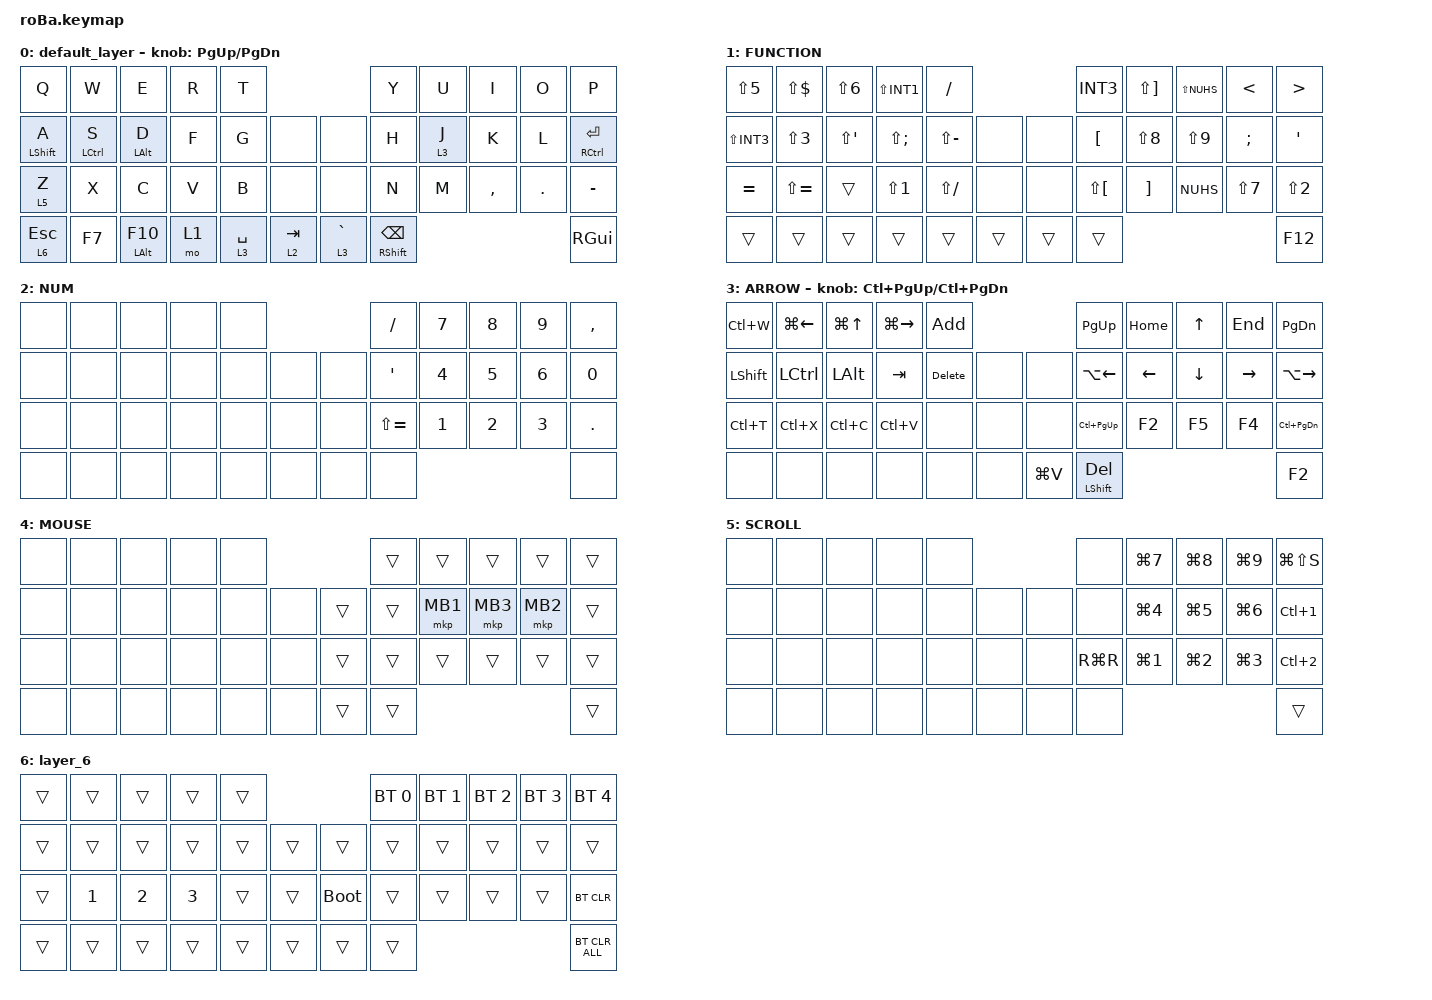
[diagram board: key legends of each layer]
#include <behaviors.dtsi>
#include <dt-bindings/zmk/bt.h>
#include <dt-bindings/zmk/keys.h>
#include <dt-bindings/zmk/pointing.h>

&mt {
    flavor = "tap-preferred";
    quick-tap-ms = <125>;
    tapping-term-ms = <175>;
};

&lt {
    tapping-term-ms = <175>;
    quick-tap-ms = <125>;
    flavor = "tap-preferred";
};

&trackball {
    //automouse-layer = <4>;

    scroll-layers = <3>;

    // arrows {
    //     layers = <3>;
    //     bindings =
    //         <&kp RIGHT_ARROW>,
    //         <&kp LEFT_ARROW>,
    //         <&kp UP_ARROW>,
    //         <&kp DOWN_ARROW>;
    //     tick = <10>;
    //     wait-ms = <5>;
    //     tap-ms = <5>;
    // };
};

/ {
    combos {
        compatible = "zmk,combos";

        RightClick {
            bindings = <&mkp MB2>;
            key-positions = <7 8>;
        };

        LeftClick {
            bindings = <&mkp MB1>;
            key-positions = <19 20>;
        };
    };

    macros {
        Add: to_layer_0 {
            compatible = "zmk,behavior-macro";
            #binding-cells = <0>;
            bindings =
                <&macro_press>,
                <&kp CARET>,
                <&macro_press>,
                <&kp LEFT_SHIFT>,
                <&macro_tap>,
                <&kp SEMICOLON>,
                <&macro_release>,
                <&kp LEFT_SHIFT>,
                <&macro_release>,
                <&kp CARET>;

            label = "TO_LAYER_0";
        };

        Delete: Delete {
            compatible = "zmk,behavior-macro";
            #binding-cells = <0>;
            bindings =
                <&macro_press>,
                <&kp CARET>,
                <&macro_tap>,
                <&kp MINUS>,
                <&macro_release>,
                <&kp CARET>;

            label = "DELETE";
        };
    };

    behaviors {
        lt_to_layer_0: lt_to_layer_0 {
            compatible = "zmk,behavior-hold-tap";
            label = "LAYER_TAP_TO_0";
            bindings = <&mo>, <&Add>;

            #binding-cells = <2>;
            tapping-term-ms = <200>;
        };
    };

    keymap {
        compatible = "zmk,keymap";

        default_layer {
            bindings = <
&kp Q             &kp W        &kp E             &kp R  &kp T                                    &kp Y                      &kp U    &kp I      &kp O    &kp P
&mt LEFT_SHIFT A  &mt LCTRL S  &mt LEFT_ALT D    &kp F  &kp G        &none          &none        &kp H                      &lt 3 J  &kp K      &kp L    &mt RCTRL ENTER
&lt 5 Z           &kp X        &kp C             &kp V  &kp B        &none          &none        &kp N                      &kp M    &kp COMMA  &kp DOT  &kp MINUS
&lt 6 ESC         &kp F7       &mt LEFT_ALT F10  &mo 1  &lt 3 SPACE  &lt 2 TAB      &lt 3 GRAVE  &mt RIGHT_SHIFT BACKSPACE                               &kp RGUI
            >;

            sensor-bindings = <&inc_dec_kp PG_UP PAGE_DOWN>;
        };

        FUNCTION {
            bindings = <
&kp LS(N5)    &kp LS(DOLLAR)    &kp LS(NUMBER_6)      &kp LS(INT1)       &kp SLASH                          &kp INT3              &kp LS(RIGHT_BRACKET)  &kp LS(NUHS)      &kp LESS_THAN     &kp GREATER_THAN
&kp LS(INT3)  &kp LS(NUMBER_3)  &kp LS(SINGLE_QUOTE)  &kp LS(SEMICOLON)  &kp LS(MINUS)  &none       &none   &kp LEFT_BRACKET      &kp LS(NUMBER_8)       &kp LS(NUMBER_9)  &kp SEMICOLON     &kp SINGLE_QUOTE
&kp EQUAL     &kp LS(EQUAL)     &trans                &kp LS(NUMBER_1)   &kp LS(SLASH)  &none       &none   &kp LS(LEFT_BRACKET)  &kp RIGHT_BRACKET      &kp NUHS          &kp LS(NUMBER_7)  &kp LS(NUMBER_2)
&trans        &trans            &trans                &trans             &trans         &trans      &trans  &trans                                                                           &kp F12
            >;
        };

        NUM {
            bindings = <
&none  &none  &none  &none  &none                    &kp SLASH         &kp N7  &kp N8  &kp N9  &kp COMMA
&none  &none  &none  &none  &none  &none      &none  &kp SINGLE_QUOTE  &kp N4  &kp N5  &kp N6  &kp N0
&none  &none  &none  &none  &none  &none      &none  &kp LS(EQUAL)     &kp N1  &kp N2  &kp N3  &kp PERIOD
&none  &none  &none  &none  &none  &none      &none  &none                                     &none
            >;
        };

        ARROW {
            bindings = <
&kp LC(W)       &kp LG(LEFT_ARROW)  &kp LG(UP_ARROW)  &kp LG(RIGHT_ARROW)  &Add                           &kp PAGE_UP            &kp HOME        &kp UP_ARROW    &kp END          &kp PAGE_DOWN
&kp LEFT_SHIFT  &kp LCTRL           &kp LEFT_ALT      &kp TAB              &Delete  &none      &none      &kp LA(LEFT_ARROW)     &kp LEFT_ARROW  &kp DOWN_ARROW  &kp RIGHT_ARROW  &kp LA(RIGHT_ARROW)
&kp LC(T)       &kp LC(X)           &kp LC(C)         &kp LC(V)            &none    &none      &none      &kp LC(PAGE_UP)        &kp F2          &kp F5          &kp F4           &kp LC(PAGE_DOWN)
&none           &none               &none             &none                &none    &none      &kp LG(V)  &mt LEFT_SHIFT DELETE                                                   &kp F2
            >;

            sensor-bindings = <&inc_dec_kp LC(PAGE_UP) LC(PAGE_DOWN)>;
        };

        MOUSE {
            bindings = <
&none  &none  &none  &none  &none                     &trans  &trans    &trans    &trans    &trans
&none  &none  &none  &none  &none  &none      &trans  &trans  &mkp MB1  &mkp MB3  &mkp MB2  &trans
&none  &none  &none  &none  &none  &none      &trans  &trans  &trans    &trans    &trans    &trans
&none  &none  &none  &none  &none  &none      &trans  &trans                                &trans
            >;
        };

        SCROLL {
            bindings = <
&none  &none  &none  &none  &none                    &none      &kp LG(N7)  &kp LG(N8)  &kp LG(N9)  &kp LG(LS(S))
&none  &none  &none  &none  &none  &none      &none  &none      &kp LG(N4)  &kp LG(N5)  &kp LG(N6)  &kp LC(N1)
&none  &none  &none  &none  &none  &none      &none  &kp RG(R)  &kp LG(N1)  &kp LG(N2)  &kp LG(N3)  &kp LC(N2)
&none  &none  &none  &none  &none  &none      &none  &none                                          &trans
            >;
        };

        layer_6 {
            bindings = <
&trans  &trans        &trans        &trans        &trans                           &bt BT_SEL 0  &bt BT_SEL 1  &bt BT_SEL 2  &bt BT_SEL 3  &bt BT_SEL 4
&trans  &trans        &trans        &trans        &trans  &trans      &trans       &trans        &trans        &trans        &trans        &trans
&trans  &kp NUMBER_1  &kp NUMBER_2  &kp NUMBER_3  &trans  &trans      &bootloader  &trans        &trans        &trans        &trans        &bt BT_CLR
&trans  &trans        &trans        &trans        &trans  &trans      &trans       &trans                                                  &bt BT_CLR_ALL
            >;
        };
    };
};
